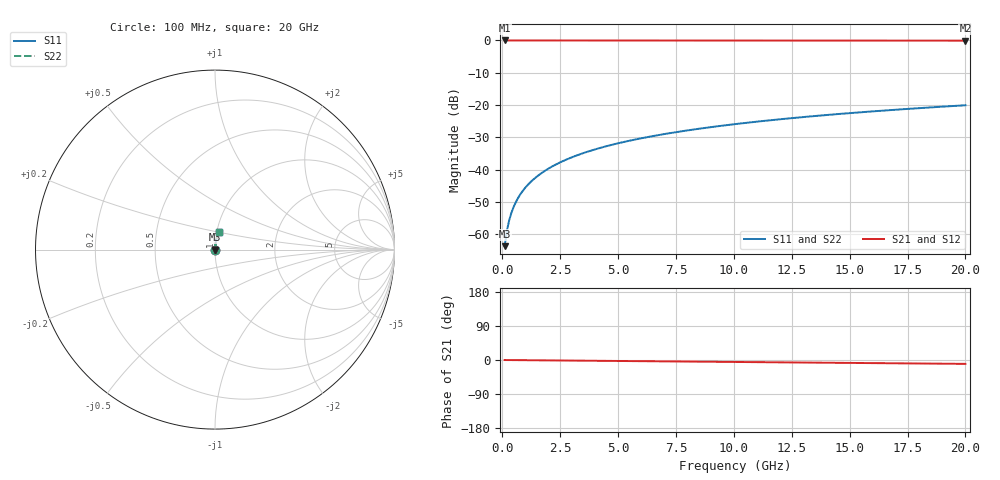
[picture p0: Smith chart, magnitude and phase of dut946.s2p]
! Touchstone file exported from HFSS 2026.1.0
!  File:  C:/ffzhzh/LocalFiles/Ansys_Project_Files/temp_train_TSV_946_1783187162_43440.aedt
!  Generated:  01:48:05 AM Jul  5, 2026
!  Design:  TSV
!  Project:  temp_train_TSV_946_1783187162_43440
! Variables:
!  h_bsmrdl = 2um
!  h_ox = 20um
!  h_rdl = 5um
!  h_sub = 79.7um
!  h_tmrdl = 5um
!  h_tsv = 79.7um
!  h_via = 3um
!  l_bsmrdl = 300um
!  l_sub = 410.34um
!  l_tmrdl = 200um
!  m_sub = 200um
!  pitch = 54.66um
!  r_tsv = 5.17um
!  s_tmrdl = 10um
!  w_bsmrdl = 18um
!  w_sub = 500um
!  w_tmrdl = 12um
!  x_tsv_center1 = 206um
!  x_tsv_center2 = 524um
!  x_tsv_center3 = 736um
!  x_tsv_center4 = 1054um
!  x_tsv_center5 = 1266um
!  x_tsv_center6 = 1584um
# GHz S MA R 50.000000
! Terminal data exported
! Port[1] = TSV1_1_T1
! Port[2] = TSV1_1_T2
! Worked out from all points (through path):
!   200 points, 100 MHz to 20 GHz, reference 50 ohm
!   highest |S21| = 0.00 dB at 100 MHz (marker M1); lowest = -0.1 dB at 20 GHz (marker M2)
!   group delay of S21, straight-line fit = 1.42 ps
!   lowest |S11| = -63.6 dB at 100 MHz (marker M3), VSWR 1.00, Z = 50 + j0.0542 ohm
!   |S11| at or under -10 dB: start of sweep to end of sweep
!   |S22| runs from -63.6 to -20.1 dB; largest |S21 - S12| = 5.4e-15
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0.1  0.0006574 55.5  0.9996 -0.1  0.9996 -0.1  0.0006574 55.5
! Gamma 0 0 0 0
! Port Impedance 50 0 50 0
0.2  0.001147 70.5  0.9996 -0.1  0.9996 -0.1  0.001147 70.5
0.3  0.001666 76.2  0.9996 -0.2  0.9996 -0.2  0.001666 76.2
0.4  0.00219 79.0  0.9996 -0.2  0.9996 -0.2  0.00219 79.0
0.5  0.002715 80.7  0.9996 -0.3  0.9996 -0.3  0.002715 80.7
0.7  0.003758 82.6  0.9995 -0.4  0.9995 -0.4  0.003758 82.6
0.8  0.004278 83.2  0.9995 -0.4  0.9995 -0.4  0.004278 83.2
1  0.005312 84.0  0.9995 -0.5  0.9995 -0.5  0.005312 84.0
1.2  0.006344 84.5  0.9994 -0.6  0.9994 -0.6  0.006344 84.5
1.4  0.007373 84.9  0.9994 -0.7  0.9994 -0.7  0.007373 84.9
1.7  0.008915 85.2  0.9993 -0.9  0.9993 -0.9  0.008915 85.2
2  0.01045 85.4  0.9993 -1.0  0.9993 -1.0  0.01045 85.4
2.7  0.01403 85.6  0.9992 -1.4  0.9992 -1.4  0.01403 85.6
3.5  0.0181 85.5  0.999 -1.8  0.999 -1.8  0.0181 85.5
4.2  0.02164 85.4  0.9988 -2.2  0.9988 -2.2  0.02164 85.4
5  0.02566 85.1  0.9986 -2.6  0.9986 -2.6  0.02566 85.1
6.8  0.03466 84.5  0.9982 -3.5  0.9982 -3.5  0.03466 84.5
8.3  0.04211 83.9  0.9978 -4.3  0.9978 -4.3  0.04211 83.9
10.1  0.05103 83.1  0.9972 -5.2  0.9972 -5.2  0.05103 83.1
13.4  0.06729 81.7  0.9961 -6.9  0.9961 -6.9  0.06729 81.7
16.7  0.08342 80.2  0.9947 -8.6  0.9947 -8.6  0.08342 80.2
20  0.09938 78.6  0.993 -10.2  0.993 -10.2  0.09938 78.6
